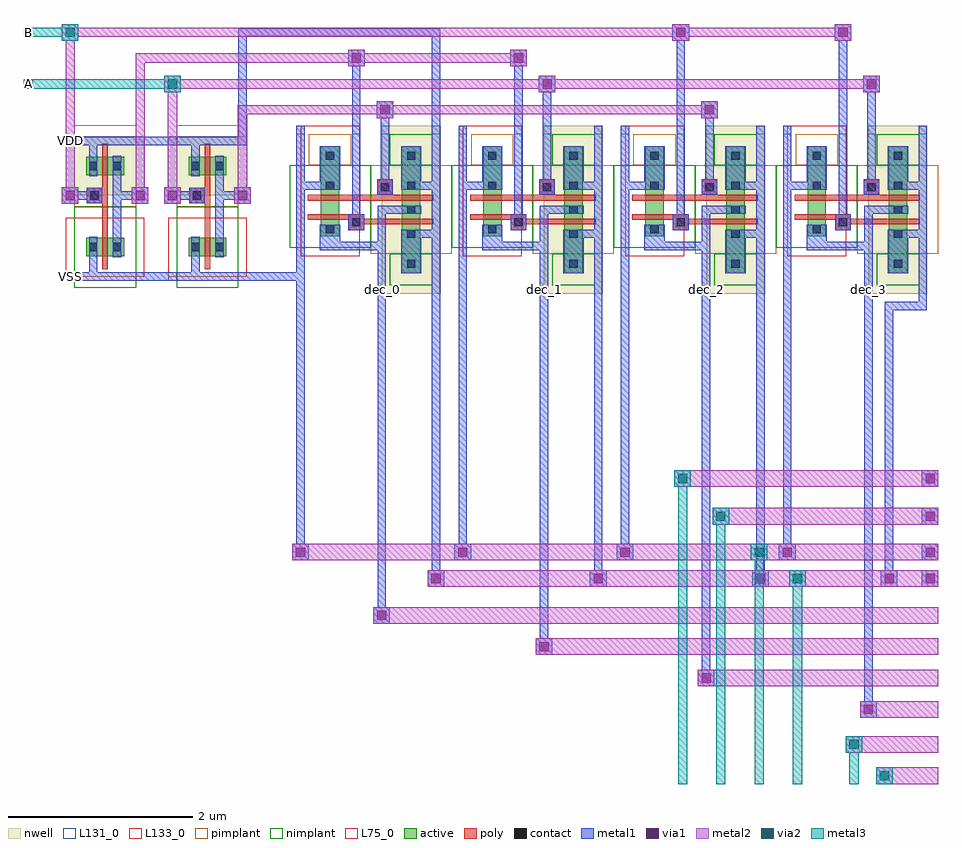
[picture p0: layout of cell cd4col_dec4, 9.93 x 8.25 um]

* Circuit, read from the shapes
.subckt cd4col_dec4 A B VDD VSS dec_0 dec_1 dec_2 dec_3
M1 cd4nand2_2/B B VSS VSS nfet w=0.2u l=0.06u
M2 cd4nand2_1/A A VSS VSS nfet w=0.2u l=0.06u
M3 n1 cd4nand2_2/B dec_0 VSS nfet w=0.2u l=0.06u
M4 VSS cd4nand2_1/A n1 VSS nfet w=0.2u l=0.06u
M5 n2 cd4nand2_2/B dec_1 VSS nfet w=0.2u l=0.06u
M6 VSS A n2 VSS nfet w=0.2u l=0.06u
M7 n3 B dec_2 VSS nfet w=0.2u l=0.06u
M8 VSS cd4nand2_1/A n3 VSS nfet w=0.2u l=0.06u
M9 n4 B dec_3 VSS nfet w=0.2u l=0.06u
M10 VSS A n4 VSS nfet w=0.2u l=0.06u
M11 cd4nand2_2/B B VDD n5 pfet w=0.2u l=0.06u
M12 cd4nand2_1/A A VDD n6 pfet w=0.2u l=0.06u
M13 dec_0 cd4nand2_2/B VDD VDD pfet w=0.2u l=0.06u
M14 VDD cd4nand2_1/A dec_0 VDD pfet w=0.2u l=0.06u
M15 dec_1 cd4nand2_2/B VDD VDD pfet w=0.2u l=0.06u
M16 VDD A dec_1 VDD pfet w=0.2u l=0.06u
M17 dec_2 B VDD VDD pfet w=0.2u l=0.06u
M18 VDD cd4nand2_1/A dec_2 VDD pfet w=0.2u l=0.06u
M19 dec_3 B VDD VDD pfet w=0.2u l=0.06u
M20 VDD A dec_3 VDD pfet w=0.2u l=0.06u
.ends

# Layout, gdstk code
from math import pi, radians
import gdstk
lib = gdstk.Library(unit=1e-6, precision=1e-09)
def R(c, l, rs):  # rectangles x0, y0, x1, y1
    for r in rs: c.add(gdstk.rectangle(r[:2], r[2:], *l))
def A(c, l, x, y, w, h, nx, ny, dx, dy):  # array of equal rectangles
    R(c, l, [(x+i*dx, y+j*dy, x+i*dx+w, y+j*dy+h) for i in range(nx) for j in range(ny)])
nwell = (3, 0)
active = (6, 0)
poly = (17, 0)
pimplant = (25, 0)
nimplant = (26, 0)
contact = (30, 0)
metal1 = (31, 0)
metal2 = (32, 0)
metal3 = (33, 0)
via1 = (51, 0)
via2 = (52, 0)
L75_0 = (75, 0)
L131_0 = (131, 0)
L133_0 = (133, 0)

cd4pch_0 = lib.new_cell('cd4pch_0')
R(cd4pch_0, nwell, [(-0.75,-0.22,0.455,0.42)])
R(cd4pch_0, active, [(-0.53,0,-0.32,0.2), (-0.32,0,0,0.2), (0,0,0.06,0.2), (0.06,0,0.235,0.2)])
R(cd4pch_0, poly, [(0,-0.14,0.06,0), (0,0,0.06,0.2), (0,0.2,0.06,0.34)])
R(cd4pch_0, pimplant, [(-0.32,-0.34,0.365,0.54)])
R(cd4pch_0, nimplant, [(-0.66,-0.13,-0.32,0.33)])
R(cd4pch_0, contact, [(-0.47,0.055,-0.38,0.145), (-0.145,0.055,-0.055,0.145), (0.115,0.055,0.205,0.145)])
R(cd4pch_0, metal1, [(-0.32,-0.01,-0.145,0.21), (-0.145,-0.01,-0.055,0.21), (0.115,-0.01,0.205,0.21)])
cd4pch_0.add(gdstk.FlexPath([(-0.425,-0.01),(-0.425,0.21)], 0.21, ends="flush", simple_path=True, layer=31, datatype=0))  # metal1
cd4pch_0.add(gdstk.Label('& SerialNumber 000000', (0,0), layer=63, texttype=63))
cd4pch_0.add(gdstk.Label('& Distributor TSMC', (0,0), layer=63, texttype=63))
cd4pch_0.add(gdstk.Label('& Metric 1', (0,0), layer=63, texttype=63))
cd4pch_0.add(gdstk.Label('& PDK TechNode "CRN65LP"', (0,0), layer=63, texttype=63))
cd4pch_0.add(gdstk.Label('& Product    tsmcN65_PDK', (0,0), layer=63, texttype=63))
cd4pch_0.add(gdstk.Label('& Vendor     Taiwan Semiconductor manufacturing Corp.', (0,0), layer=63, texttype=63))
cd4pch_0.add(gdstk.Label('[@instanceName]', (0.03,0.1), layer=127, texttype=0))
cd4pch_0.add(gdstk.Label('pch\n0.2/0.06\n', (0,0), layer=127, texttype=0))
cd4pch_0.add(gdstk.Label('B', (-0.425,0.1), layer=127, texttype=0))
cd4pch_0.add(gdstk.Label('D', (0.16,0.1), layer=127, texttype=0))
cd4pch_0.add(gdstk.Label('S', (-0.1,0.1), layer=127, texttype=0))

cd4pch_1 = lib.new_cell('cd4pch_1')
R(cd4pch_1, nwell, [(-0.75,-0.22,0.305,0.42)])
R(cd4pch_1, active, [(-0.53,0,-0.32,0.2), (-0.32,0,0,0.2), (0,0,0.06,0.2), (0.06,0,0.085,0.2)])
R(cd4pch_1, poly, [(0,-0.14,0.06,0), (0,0,0.06,0.2), (0,0.2,0.06,0.34)])
R(cd4pch_1, pimplant, [(-0.32,-0.34,0.215,0.54)])
R(cd4pch_1, nimplant, [(-0.66,-0.13,-0.32,0.33)])
R(cd4pch_1, contact, [(-0.47,0.055,-0.38,0.145), (-0.145,0.055,-0.055,0.145)])
R(cd4pch_1, metal1, [(-0.32,-0.01,-0.145,0.21), (-0.145,-0.01,-0.055,0.21)])
cd4pch_1.add(gdstk.FlexPath([(-0.425,-0.01),(-0.425,0.21)], 0.21, ends="flush", simple_path=True, layer=31, datatype=0))  # metal1
cd4pch_1.add(gdstk.Label('& SerialNumber 000000', (0,0), layer=63, texttype=63))
cd4pch_1.add(gdstk.Label('& Distributor TSMC', (0,0), layer=63, texttype=63))
cd4pch_1.add(gdstk.Label('& Metric 1', (0,0), layer=63, texttype=63))
cd4pch_1.add(gdstk.Label('& PDK TechNode "CRN65LP"', (0,0), layer=63, texttype=63))
cd4pch_1.add(gdstk.Label('& Product    tsmcN65_PDK', (0,0), layer=63, texttype=63))
cd4pch_1.add(gdstk.Label('& Vendor     Taiwan Semiconductor manufacturing Corp.', (0,0), layer=63, texttype=63))
cd4pch_1.add(gdstk.Label('[@instanceName]', (0.03,0.1), layer=127, texttype=0))
cd4pch_1.add(gdstk.Label('pch\n0.2/0.06\n', (0,0), layer=127, texttype=0))
cd4pch_1.add(gdstk.Label('B', (-0.425,0.1), layer=127, texttype=0))
cd4pch_1.add(gdstk.Label('S', (-0.1,0.1), layer=127, texttype=0))

cd4nch_2 = lib.new_cell('cd4nch_2')
R(cd4nch_2, active, [(-0.53,0,-0.32,0.2), (-0.32,0,0,0.2), (0,0,0.06,0.2), (0.06,0,0.135,0.2)])
R(cd4nch_2, poly, [(0,-0.14,0.06,0), (0,0,0.06,0.2), (0,0.2,0.06,0.34)])
R(cd4nch_2, pimplant, [(-0.66,-0.13,-0.32,0.33)])
R(cd4nch_2, nimplant, [(-0.32,-0.34,0.265,0.54)])
R(cd4nch_2, contact, [(-0.47,0.055,-0.38,0.145), (-0.145,0.055,-0.055,0.145)])
R(cd4nch_2, metal1, [(-0.32,-0.01,-0.145,0.21), (-0.145,-0.01,-0.055,0.21)])
R(cd4nch_2, L75_0, [(-0.75,-0.22,0.355,0.42)])
cd4nch_2.add(gdstk.FlexPath([(-0.425,-0.01),(-0.425,0.21)], 0.21, ends="flush", simple_path=True, layer=31, datatype=0))  # metal1
cd4nch_2.add(gdstk.Label('& SerialNumber 000000', (0,0), layer=63, texttype=63))
cd4nch_2.add(gdstk.Label('& Distributor TSMC', (0,0), layer=63, texttype=63))
cd4nch_2.add(gdstk.Label('& Metric 1', (0,0), layer=63, texttype=63))
cd4nch_2.add(gdstk.Label('& PDK TechNode "CRN65LP"', (0,0), layer=63, texttype=63))
cd4nch_2.add(gdstk.Label('& Product    tsmcN65_PDK', (0,0), layer=63, texttype=63))
cd4nch_2.add(gdstk.Label('& Vendor     Taiwan Semiconductor manufacturing Corp.', (0,0), layer=63, texttype=63))
cd4nch_2.add(gdstk.Label('[@instanceName]', (0.03,0.1), layer=127, texttype=0))
cd4nch_2.add(gdstk.Label('nch\n0.2/0.06\n', (0,0), layer=127, texttype=0))
cd4nch_2.add(gdstk.Label('B', (-0.425,0.1), layer=127, texttype=0))
cd4nch_2.add(gdstk.Label('S', (-0.1,0.1), layer=127, texttype=0))

cd4nch_3 = lib.new_cell('cd4nch_3')
R(cd4nch_3, active, [(-0.075,0,0,0.2), (0,0,0.06,0.2), (0.06,0,0.235,0.2)])
R(cd4nch_3, poly, [(0,-0.14,0.06,0), (0,0,0.06,0.2), (0,0.2,0.06,0.34)])
R(cd4nch_3, nimplant, [(-0.205,-0.34,0.365,0.54)])
R(cd4nch_3, contact, [(0.115,0.055,0.205,0.145)])
R(cd4nch_3, metal1, [(0.115,-0.01,0.205,0.21)])
R(cd4nch_3, L75_0, [(-0.295,-0.22,0.455,0.42)])
cd4nch_3.add(gdstk.Label('& SerialNumber 000000', (0,0), layer=63, texttype=63))
cd4nch_3.add(gdstk.Label('& Distributor TSMC', (0,0), layer=63, texttype=63))
cd4nch_3.add(gdstk.Label('& Metric 1', (0,0), layer=63, texttype=63))
cd4nch_3.add(gdstk.Label('& PDK TechNode "CRN65LP"', (0,0), layer=63, texttype=63))
cd4nch_3.add(gdstk.Label('& Product    tsmcN65_PDK', (0,0), layer=63, texttype=63))
cd4nch_3.add(gdstk.Label('& Vendor     Taiwan Semiconductor manufacturing Corp.', (0,0), layer=63, texttype=63))
cd4nch_3.add(gdstk.Label('[@instanceName]', (0.03,0.1), layer=127, texttype=0))
cd4nch_3.add(gdstk.Label('nch\n0.2/0.06\n', (0,0), layer=127, texttype=0))
cd4nch_3.add(gdstk.Label('D', (0.16,0.1), layer=127, texttype=0))

cd4m1_po_2 = lib.new_cell('cd4M1_PO_2')
R(cd4m1_po_2, poly, [(-0.085,-0.085,0.085,0.085)])
R(cd4m1_po_2, contact, [(-0.045,-0.045,0.045,0.045)])
R(cd4m1_po_2, metal1, [(-0.085,-0.085,0.085,0.085)])

cd4nand2 = lib.new_cell('cd4nand2')
R(cd4nand2, L131_0, [(0,0.075,0.09,0.165), (0,0.68,0.09,0.77), (1.73,0.955,1.82,1.045), (0,0.99,0.09,1.08), (0,1.545,0.09,1.635)])
cd4nand2.add(gdstk.FlexPath([(0.78,1.08),(0.78,0.68)], 0.06, ends="flush", simple_path=True, layer=17, datatype=0))  # poly
cd4nand2.add(gdstk.FlexPath([(1.04,0.725),(1.045,0.725)], 0.06, ends=(0.03, 0), simple_path=True, layer=17, datatype=0))  # poly
cd4nand2.add(gdstk.FlexPath([(1.04,1.08),(1.04,0.725)], 0.06, ends=(0, 0.03), simple_path=True, layer=17, datatype=0))  # poly
cd4nand2.add(gdstk.FlexPath([(0.665,1.035),(0,1.035)], 0.09, ends="flush", simple_path=True, layer=31, datatype=0))  # metal1
cd4nand2.add(gdstk.FlexPath([(0.65,1.59),(0,1.59)], 0.09, ends=(0.045, 0), simple_path=True, layer=31, datatype=0))  # metal1
cd4nand2.add(gdstk.FlexPath([(0.65,1.59),(1.17,1.59)], 0.09, ends="extended", simple_path=True, layer=31, datatype=0))  # metal1
cd4nand2.add(gdstk.FlexPath([(1.17,1.59),(1.82,1.59)], 0.09, ends=(0.045, 0), simple_path=True, layer=31, datatype=0))  # metal1
cd4nand2.add(gdstk.FlexPath([(0.65,0.12),(0,0.12)], 0.09, ends=(0.045, 0), simple_path=True, layer=31, datatype=0))  # metal1
cd4nand2.add(gdstk.FlexPath([(0.65,0.12),(1.82,0.12)], 0.09, ends=(0.045, 0), simple_path=True, layer=31, datatype=0))  # metal1
cd4nand2.add(gdstk.FlexPath([(0.65,0.33),(0.65,0.12)], 0.09, ends=(0, 0.045), simple_path=True, layer=31, datatype=0))  # metal1
cd4nand2.add(gdstk.FlexPath([(0.65,1.43),(0.65,1.59)], 0.09, ends=(0, 0.045), simple_path=True, layer=31, datatype=0))  # metal1
cd4nand2.add(gdstk.FlexPath([(0.91,1.21),(0.91,1)], 0.09, ends=(0, 0.045), simple_path=True, layer=31, datatype=0))  # metal1
cd4nand2.add(gdstk.FlexPath([(1.305,1),(1.82,1)], 0.09, ends=(0.045, 0), simple_path=True, layer=31, datatype=0))  # metal1
cd4nand2.add(gdstk.FlexPath([(0.91,1),(1.305,1)], 0.09, ends="extended", simple_path=True, layer=31, datatype=0))  # metal1
cd4nand2.add(gdstk.FlexPath([(1.045,0.725),(0,0.725)], 0.09, ends="flush", simple_path=True, layer=31, datatype=0))  # metal1
cd4nand2.add(gdstk.FlexPath([(1.17,1.43),(1.17,1.59)], 0.09, ends=(0, 0.045), simple_path=True, layer=31, datatype=0))  # metal1
cd4nand2.add(gdstk.FlexPath([(1.305,0.44),(1.165,0.44)], 0.22, ends=(0.045, 0), simple_path=True, layer=31, datatype=0))  # metal1
cd4nand2.add(gdstk.FlexPath([(1.305,1),(1.305,0.44)], 0.09, ends=(0.045, 0.11), simple_path=True, layer=31, datatype=0))  # metal1
cd4nand2.add(gdstk.Reference(cd4pch_0, (0.75,1.22)))
cd4nand2.add(gdstk.Reference(cd4pch_1, (1.07,1.22), rotation=pi, x_reflection=True))
cd4nand2.add(gdstk.Reference(cd4nch_2, (0.75,0.34)))
cd4nand2.add(gdstk.Reference(cd4nch_3, (0.96,0.34)))
cd4nand2.add(gdstk.Reference(cd4m1_po_2, (0.665,1.035)))
cd4nand2.add(gdstk.Reference(cd4m1_po_2, (1.045,0.725)))
cd4nand2.add(gdstk.Label('Y', (1.775,1), layer=131, texttype=0))
cd4nand2.add(gdstk.Label('VDD', (0.045,1.59), layer=131, texttype=0))
cd4nand2.add(gdstk.Label('VSS', (0.045,0.12), layer=131, texttype=0))
cd4nand2.add(gdstk.Label('A', (0.045,1.035), layer=131, texttype=0))
cd4nand2.add(gdstk.Label('B', (0.045,0.725), layer=131, texttype=0))

cd4nch_4 = lib.new_cell('cd4nch_4')
R(cd4nch_4, active, [(-0.175,0,0,0.2), (0,0,0.06,0.2), (0.06,0,0.235,0.2)])
R(cd4nch_4, poly, [(0,-0.14,0.06,0), (0,0,0.06,0.2), (0,0.2,0.06,0.34)])
R(cd4nch_4, nimplant, [(-0.305,-0.34,0.365,0.54)])
R(cd4nch_4, contact, [(-0.145,0.055,-0.055,0.145), (0.115,0.055,0.205,0.145)])
R(cd4nch_4, metal1, [(-0.145,-0.01,-0.055,0.21), (0.115,-0.01,0.205,0.21)])
R(cd4nch_4, L75_0, [(-0.395,-0.22,0.455,0.42)])
cd4nch_4.add(gdstk.Label('& SerialNumber 000000', (0,0), layer=63, texttype=63))
cd4nch_4.add(gdstk.Label('& Distributor TSMC', (0,0), layer=63, texttype=63))
cd4nch_4.add(gdstk.Label('& Metric 1', (0,0), layer=63, texttype=63))
cd4nch_4.add(gdstk.Label('& PDK TechNode "CRN65LP"', (0,0), layer=63, texttype=63))
cd4nch_4.add(gdstk.Label('& Product    tsmcN65_PDK', (0,0), layer=63, texttype=63))
cd4nch_4.add(gdstk.Label('& Vendor     Taiwan Semiconductor manufacturing Corp.', (0,0), layer=63, texttype=63))
cd4nch_4.add(gdstk.Label('[@instanceName]', (0.03,0.1), layer=127, texttype=0))
cd4nch_4.add(gdstk.Label('nch\n0.2/0.06\n', (0,0), layer=127, texttype=0))
cd4nch_4.add(gdstk.Label('D', (0.16,0.1), layer=127, texttype=0))
cd4nch_4.add(gdstk.Label('S', (-0.1,0.1), layer=127, texttype=0))

cd4pch_5 = lib.new_cell('cd4pch_5')
R(cd4pch_5, nwell, [(-0.395,-0.22,0.455,0.42)])
R(cd4pch_5, active, [(-0.175,0,0,0.2), (0,0,0.06,0.2), (0.06,0,0.235,0.2)])
R(cd4pch_5, poly, [(0,-0.14,0.06,0), (0,0,0.06,0.2), (0,0.2,0.06,0.34)])
R(cd4pch_5, pimplant, [(-0.305,-0.34,0.365,0.54)])
R(cd4pch_5, contact, [(-0.145,0.055,-0.055,0.145), (0.115,0.055,0.205,0.145)])
R(cd4pch_5, metal1, [(-0.145,-0.01,-0.055,0.21), (0.115,-0.01,0.205,0.21)])
cd4pch_5.add(gdstk.Label('& SerialNumber 000000', (0,0), layer=63, texttype=63))
cd4pch_5.add(gdstk.Label('& Distributor TSMC', (0,0), layer=63, texttype=63))
cd4pch_5.add(gdstk.Label('& Metric 1', (0,0), layer=63, texttype=63))
cd4pch_5.add(gdstk.Label('& PDK TechNode "CRN65LP"', (0,0), layer=63, texttype=63))
cd4pch_5.add(gdstk.Label('& Product    tsmcN65_PDK', (0,0), layer=63, texttype=63))
cd4pch_5.add(gdstk.Label('& Vendor     Taiwan Semiconductor manufacturing Corp.', (0,0), layer=63, texttype=63))
cd4pch_5.add(gdstk.Label('[@instanceName]', (0.03,0.1), layer=127, texttype=0))
cd4pch_5.add(gdstk.Label('pch\n0.2/0.06\n', (0,0), layer=127, texttype=0))
cd4pch_5.add(gdstk.Label('D', (0.16,0.1), layer=127, texttype=0))
cd4pch_5.add(gdstk.Label('S', (-0.1,0.1), layer=127, texttype=0))

cd4not = lib.new_cell('cd4not')
R(cd4not, L131_0, [(0,0.075,0.09,0.165), (0,0.955,0.09,1.045), (0.76,0.955,0.85,1.045), (0,1.545,0.09,1.635)])
cd4not.add(gdstk.FlexPath([(0.425,1.08),(0.425,0.68)], 0.06, ends="flush", simple_path=True, layer=17, datatype=0))  # poly
cd4not.add(gdstk.FlexPath([(0.85,1.59),(0.295,1.59)], 0.09, ends=(0, 0.045), simple_path=True, layer=31, datatype=0))  # metal1
cd4not.add(gdstk.FlexPath([(0.85,0.12),(0.295,0.12)], 0.09, ends=(0, 0.045), simple_path=True, layer=31, datatype=0))  # metal1
cd4not.add(gdstk.FlexPath([(0.555,1),(0.85,1)], 0.09, ends=(0.045, 0), simple_path=True, layer=31, datatype=0))  # metal1
cd4not.add(gdstk.FlexPath([(0.555,1),(0.555,0.55)], 0.09, ends=(0.045, 0), simple_path=True, layer=31, datatype=0))  # metal1
cd4not.add(gdstk.FlexPath([(0,1),(0.31,1)], 0.09, ends="flush", simple_path=True, layer=31, datatype=0))  # metal1
cd4not.add(gdstk.FlexPath([(0.295,0.33),(0.295,0.12)], 0.09, ends=(0, 0.045), simple_path=True, layer=31, datatype=0))  # metal1
cd4not.add(gdstk.FlexPath([(0.295,0.12),(0,0.12)], 0.09, ends=(0.045, 0), simple_path=True, layer=31, datatype=0))  # metal1
cd4not.add(gdstk.FlexPath([(0.295,1.59),(0,1.59)], 0.09, ends=(0.045, 0), simple_path=True, layer=31, datatype=0))  # metal1
cd4not.add(gdstk.FlexPath([(0.555,1.21),(0.555,1)], 0.09, ends=(0, 0.045), simple_path=True, layer=31, datatype=0))  # metal1
cd4not.add(gdstk.FlexPath([(0.295,1.43),(0.295,1.59)], 0.09, ends=(0, 0.045), simple_path=True, layer=31, datatype=0))  # metal1
cd4not.add(gdstk.Reference(cd4nch_4, (0.395,0.34)))
cd4not.add(gdstk.Reference(cd4pch_5, (0.395,1.22)))
cd4not.add(gdstk.Reference(cd4m1_po_2, (0.31,1)))
cd4not.add(gdstk.Label('VSS', (0.045,0.12), layer=131, texttype=0))
cd4not.add(gdstk.Label('B', (0.805,1), layer=131, texttype=0))
cd4not.add(gdstk.Label('A', (0.045,1), layer=131, texttype=0))
cd4not.add(gdstk.Label('VDD', (0.045,1.59), layer=131, texttype=0))

cd4m2_m1_0 = lib.new_cell('cd4M2_M1_0')
R(cd4m2_m1_0, metal1, [(-0.09,-0.09,0.09,0.09)])
R(cd4m2_m1_0, metal2, [(-0.09,-0.09,0.09,0.09)])
R(cd4m2_m1_0, via1, [(-0.05,-0.05,0.05,0.05)])

cd4m3_m2_1 = lib.new_cell('cd4M3_M2_1')
R(cd4m3_m2_1, metal2, [(-0.09,-0.09,0.09,0.09)])
R(cd4m3_m2_1, metal3, [(-0.09,-0.09,0.09,0.09)])
R(cd4m3_m2_1, via2, [(-0.05,-0.05,0.05,0.05)])

cd4col_dec4 = lib.new_cell('cd4col_dec4')
A(cd4col_dec4, L131_0, 3.84, 5.32, 0.09, 0.09, 4, 1, 1.76, 0)
R(cd4col_dec4, L131_0, [(0.46,5.46,0.55,5.55), (0.46,6.93,0.55,7.02)])
R(cd4col_dec4, L133_0, [(0,7.545,0.1,7.645), (0,8.105,0.1,8.205)])
cd4col_dec4.add(gdstk.FlexPath([(9.2,7.095),(9.2,7.595)], 0.09, ends="flush", simple_path=True, layer=31, datatype=0))  # metal1
cd4col_dec4.add(gdstk.FlexPath([(8.89,7.095),(8.89,8.155)], 0.09, ends="flush", simple_path=True, layer=31, datatype=0))  # metal1
cd4col_dec4.add(gdstk.FlexPath([(7.44,7.095),(7.44,7.315)], 0.09, ends="flush", simple_path=True, layer=31, datatype=0))  # metal1
cd4col_dec4.add(gdstk.FlexPath([(7.13,7.095),(7.13,8.155)], 0.09, ends="flush", simple_path=True, layer=31, datatype=0))  # metal1
cd4col_dec4.add(gdstk.FlexPath([(5.68,7.095),(5.68,7.595)], 0.09, ends="flush", simple_path=True, layer=31, datatype=0))  # metal1
cd4col_dec4.add(gdstk.FlexPath([(5.37,7.095),(5.37,7.875)], 0.09, ends="flush", simple_path=True, layer=31, datatype=0))  # metal1
cd4col_dec4.add(gdstk.FlexPath([(3.92,7.14),(3.92,7.365)], 0.09, ends="flush", simple_path=True, layer=31, datatype=0))  # metal1
cd4col_dec4.add(gdstk.FlexPath([(3.61,7.095),(3.61,7.875)], 0.09, ends="flush", simple_path=True, layer=31, datatype=0))  # metal1
cd4col_dec4.add(gdstk.FlexPath([(1.31,5.505),(1.57,5.505)], 0.09, ends="flush", simple_path=True, layer=31, datatype=0))  # metal1
cd4col_dec4.add(gdstk.FlexPath([(1.31,6.975),(1.57,6.975)], 0.09, ends="flush", simple_path=True, layer=31, datatype=0))  # metal1
cd4col_dec4.add(gdstk.FlexPath([(2.375,6.975),(2.375,8.155),(4.475,8.155),(4.475,7.095)], 0.09, ends="flush", simple_path=True, layer=31, datatype=0))  # metal1
cd4col_dec4.add(gdstk.FlexPath([(2.415,5.505),(3.005,5.505)], 0.09, ends="flush", simple_path=True, layer=31, datatype=0))  # metal1
cd4col_dec4.add(gdstk.FlexPath([(9.39,2.23),(9.39,5.185),(9.755,5.185),(9.755,5.32)], 0.09, ends="flush", simple_path=True, layer=31, datatype=0))  # metal1
cd4col_dec4.add(gdstk.FlexPath([(8.285,5.32),(8.285,2.515)], 0.09, ends="flush", simple_path=True, layer=31, datatype=0))  # metal1
cd4col_dec4.add(gdstk.FlexPath([(7.995,5.32),(7.995,2.23)], 0.09, ends="flush", simple_path=True, layer=31, datatype=0))  # metal1
cd4col_dec4.add(gdstk.FlexPath([(6.525,5.32),(6.525,2.515)], 0.09, ends="flush", simple_path=True, layer=31, datatype=0))  # metal1
cd4col_dec4.add(gdstk.FlexPath([(6.235,5.325),(6.235,2.23)], 0.09, ends="flush", simple_path=True, layer=31, datatype=0))  # metal1
cd4col_dec4.add(gdstk.FlexPath([(4.765,5.32),(4.765,2.515)], 0.09, ends="flush", simple_path=True, layer=31, datatype=0))  # metal1
cd4col_dec4.add(gdstk.FlexPath([(4.475,5.32),(4.475,2.23)], 0.09, ends="flush", simple_path=True, layer=31, datatype=0))  # metal1
cd4col_dec4.add(gdstk.FlexPath([(3.005,5.32),(3.005,2.515)], 0.09, ends="flush", simple_path=True, layer=31, datatype=0))  # metal1
cd4col_dec4.add(gdstk.FlexPath([(9.165,5.32),(9.165,0.81)], 0.09, ends="flush", simple_path=True, layer=31, datatype=0))  # metal1
cd4col_dec4.add(gdstk.FlexPath([(3.885,5.32),(3.885,1.83)], 0.09, ends="flush", simple_path=True, layer=31, datatype=0))  # metal1
cd4col_dec4.add(gdstk.FlexPath([(5.645,5.32),(5.645,1.49)], 0.09, ends="flush", simple_path=True, layer=31, datatype=0))  # metal1
cd4col_dec4.add(gdstk.FlexPath([(7.405,5.32),(7.405,1.15)], 0.09, ends="flush", simple_path=True, layer=31, datatype=0))  # metal1
cd4col_dec4.add(gdstk.FlexPath([(2.375,6.385),(2.375,7.315),(7.53,7.315)], 0.1, ends="flush", simple_path=True, layer=32, datatype=0))  # metal2
cd4col_dec4.add(gdstk.FlexPath([(1.615,6.385),(1.615,7.595),(9.185,7.595)], 0.1, ends="flush", simple_path=True, layer=32, datatype=0))  # metal2
cd4col_dec4.add(gdstk.FlexPath([(0.505,6.385),(0.505,8.155),(8.98,8.155)], 0.1, ends="flush", simple_path=True, layer=32, datatype=0))  # metal2
cd4col_dec4.add(gdstk.FlexPath([(1.265,6.385),(1.265,7.875),(5.46,7.875)], 0.1, ends="flush", simple_path=True, layer=32, datatype=0))  # metal2
cd4col_dec4.add(gdstk.FlexPath([(9.925,0.09),(9.25,0.09)], 0.18, ends="flush", simple_path=True, layer=32, datatype=0))  # metal2
cd4col_dec4.add(gdstk.FlexPath([(9.925,0.43),(8.92,0.43)], 0.18, ends="flush", simple_path=True, layer=32, datatype=0))  # metal2
cd4col_dec4.add(gdstk.FlexPath([(9.835,2.23),(4.385,2.23)], 0.18, ends="flush", simple_path=True, layer=32, datatype=0))  # metal2
cd4col_dec4.add(gdstk.FlexPath([(9.835,2.515),(2.92,2.515)], 0.18, ends="flush", simple_path=True, layer=32, datatype=0))  # metal2
cd4col_dec4.add(gdstk.FlexPath([(9.835,2.905),(7.475,2.905)], 0.18, ends="flush", simple_path=True, layer=32, datatype=0))  # metal2
cd4col_dec4.add(gdstk.FlexPath([(9.835,3.315),(7.06,3.315)], 0.18, ends="flush", simple_path=True, layer=32, datatype=0))  # metal2
cd4col_dec4.add(gdstk.FlexPath([(9.925,0.81),(9.075,0.81)], 0.18, ends="flush", simple_path=True, layer=32, datatype=0))  # metal2
cd4col_dec4.add(gdstk.FlexPath([(9.925,1.15),(7.315,1.15)], 0.18, ends="flush", simple_path=True, layer=32, datatype=0))  # metal2
cd4col_dec4.add(gdstk.FlexPath([(9.925,1.49),(5.555,1.49)], 0.18, ends="flush", simple_path=True, layer=32, datatype=0))  # metal2
cd4col_dec4.add(gdstk.FlexPath([(9.925,1.83),(3.885,1.83)], 0.18, ends="flush", simple_path=True, layer=32, datatype=0))  # metal2
cd4col_dec4.add(gdstk.FlexPath([(1.615,7.595),(0,7.595)], 0.1, ends="flush", simple_path=True, layer=33, datatype=0))  # metal3
cd4col_dec4.add(gdstk.FlexPath([(0.505,8.155),(0,8.155)], 0.1, ends="flush", simple_path=True, layer=33, datatype=0))  # metal3
cd4col_dec4.add(gdstk.FlexPath([(7.15,3.315),(7.15,0)], 0.1, ends="flush", simple_path=True, layer=33, datatype=0))  # metal3
cd4col_dec4.add(gdstk.FlexPath([(7.565,2.905),(7.565,0)], 0.1, ends="flush", simple_path=True, layer=33, datatype=0))  # metal3
cd4col_dec4.add(gdstk.FlexPath([(7.98,2.515),(7.98,0)], 0.1, ends="flush", simple_path=True, layer=33, datatype=0))  # metal3
cd4col_dec4.add(gdstk.FlexPath([(9.34,0.09),(9.34,0)], 0.1, ends="flush", simple_path=True, layer=33, datatype=0))  # metal3
cd4col_dec4.add(gdstk.FlexPath([(9.01,0.43),(9.01,0)], 0.1, ends="flush", simple_path=True, layer=33, datatype=0))  # metal3
cd4col_dec4.add(gdstk.FlexPath([(8.395,2.23),(8.395,0)], 0.1, ends="flush", simple_path=True, layer=33, datatype=0))  # metal3
cd4col_dec4.add(gdstk.Reference(cd4nand2, (8.165,7.14), rotation=3*pi/2))
cd4col_dec4.add(gdstk.Reference(cd4nand2, (6.405,7.14), rotation=3*pi/2))
cd4col_dec4.add(gdstk.Reference(cd4nand2, (4.645,7.14), rotation=3*pi/2))
cd4col_dec4.add(gdstk.Reference(cd4nand2, (2.885,7.14), rotation=3*pi/2))
cd4col_dec4.add(gdstk.Reference(cd4not, (0.46,5.385)))
cd4col_dec4.add(gdstk.Reference(cd4not, (1.57,5.385)))
cd4col_dec4.add(gdstk.Reference(cd4m2_m1_0, (3.005,2.515)))
cd4col_dec4.add(gdstk.Reference(cd4m2_m1_0, (4.475,2.23)))
cd4col_dec4.add(gdstk.Reference(cd4m2_m1_0, (4.765,2.515)))
cd4col_dec4.add(gdstk.Reference(cd4m2_m1_0, (6.235,2.23)))
cd4col_dec4.add(gdstk.Reference(cd4m2_m1_0, (6.525,2.515)))
cd4col_dec4.add(gdstk.Reference(cd4m2_m1_0, (7.995,2.23)))
cd4col_dec4.add(gdstk.Reference(cd4m2_m1_0, (8.285,2.515)))
cd4col_dec4.add(gdstk.Reference(cd4m2_m1_0, (9.39,2.23)))
cd4col_dec4.add(gdstk.Reference(cd4m2_m1_0, (9.835,2.23)))
cd4col_dec4.add(gdstk.Reference(cd4m2_m1_0, (9.835,2.515)))
cd4col_dec4.add(gdstk.Reference(cd4m2_m1_0, (9.835,2.905)))
cd4col_dec4.add(gdstk.Reference(cd4m2_m1_0, (9.835,3.315)))
cd4col_dec4.add(gdstk.Reference(cd4m2_m1_0, (9.165,0.81)))
cd4col_dec4.add(gdstk.Reference(cd4m2_m1_0, (7.405,1.15)))
cd4col_dec4.add(gdstk.Reference(cd4m2_m1_0, (3.61,7.875)))
cd4col_dec4.add(gdstk.Reference(cd4m2_m1_0, (3.92,7.315)))
cd4col_dec4.add(gdstk.Reference(cd4m2_m1_0, (5.37,7.875)))
cd4col_dec4.add(gdstk.Reference(cd4m2_m1_0, (5.68,7.595)))
cd4col_dec4.add(gdstk.Reference(cd4m2_m1_0, (0.505,6.385)))
cd4col_dec4.add(gdstk.Reference(cd4m2_m1_0, (1.615,6.385)))
cd4col_dec4.add(gdstk.Reference(cd4m2_m1_0, (7.13,8.155)))
cd4col_dec4.add(gdstk.Reference(cd4m2_m1_0, (7.44,7.315)))
cd4col_dec4.add(gdstk.Reference(cd4m2_m1_0, (8.89,8.155)))
cd4col_dec4.add(gdstk.Reference(cd4m2_m1_0, (9.2,7.595)))
cd4col_dec4.add(gdstk.Reference(cd4m2_m1_0, (3.885,1.83)))
cd4col_dec4.add(gdstk.Reference(cd4m2_m1_0, (5.645,1.49)))
cd4col_dec4.add(gdstk.Reference(cd4m2_m1_0, (2.375,6.385)))
cd4col_dec4.add(gdstk.Reference(cd4m2_m1_0, (1.265,6.385)))
cd4col_dec4.add(gdstk.Reference(cd4m3_m2_1, (7.15,3.315)))
cd4col_dec4.add(gdstk.Reference(cd4m3_m2_1, (7.565,2.905)))
cd4col_dec4.add(gdstk.Reference(cd4m3_m2_1, (7.98,2.515)))
cd4col_dec4.add(gdstk.Reference(cd4m3_m2_1, (8.395,2.23)))
cd4col_dec4.add(gdstk.Reference(cd4m3_m2_1, (9.01,0.43)))
cd4col_dec4.add(gdstk.Reference(cd4m3_m2_1, (9.34,0.09)))
cd4col_dec4.add(gdstk.Reference(cd4m3_m2_1, (1.615,7.595)))
cd4col_dec4.add(gdstk.Reference(cd4m3_m2_1, (0.505,8.155)))
cd4col_dec4.add(gdstk.Label('VSS', (0.51,5.51), layer=131, texttype=0))
cd4col_dec4.add(gdstk.Label('VDD', (0.51,6.98), layer=131, texttype=0))
cd4col_dec4.add(gdstk.Label('dec_3', (9.17,5.37), layer=131, texttype=0))
cd4col_dec4.add(gdstk.Label('dec_2', (7.41,5.37), layer=131, texttype=0))
cd4col_dec4.add(gdstk.Label('dec_1', (5.65,5.37), layer=131, texttype=0))
cd4col_dec4.add(gdstk.Label('dec_0', (3.89,5.37), layer=131, texttype=0))
cd4col_dec4.add(gdstk.Label('B', (0.05,8.155), layer=133, texttype=0))
cd4col_dec4.add(gdstk.Label('A', (0.05,7.595), layer=133, texttype=0))

lib.write_gds('cd4col_dec4.gds')
